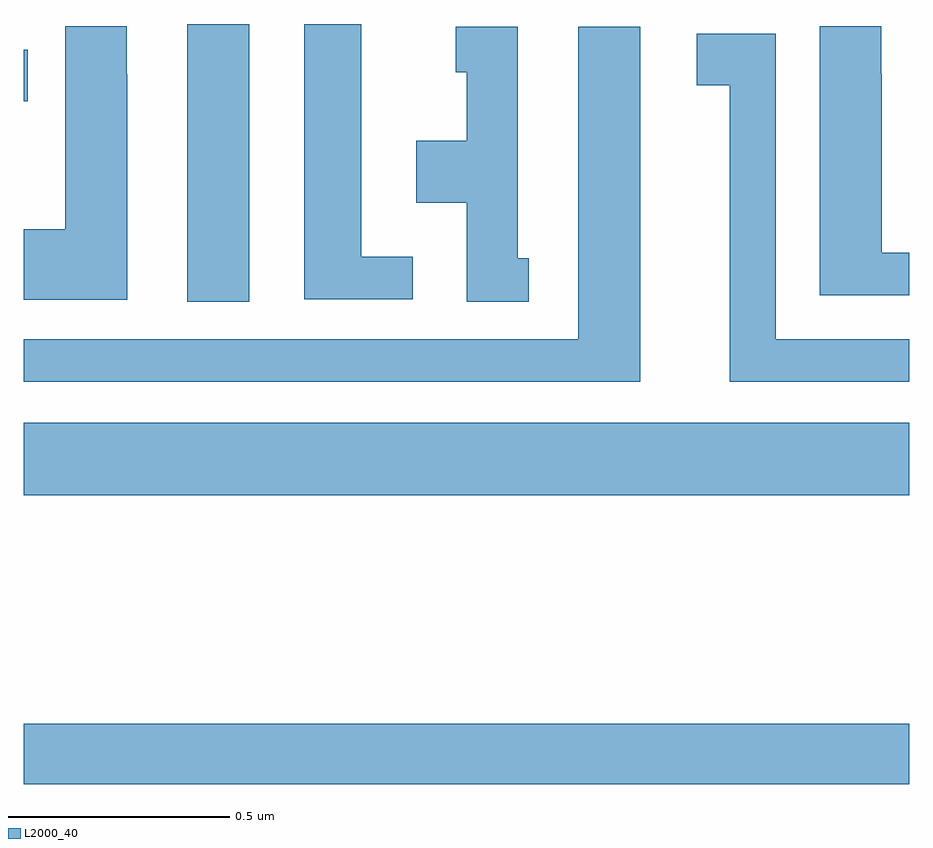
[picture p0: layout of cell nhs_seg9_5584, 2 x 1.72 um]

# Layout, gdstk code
import gdstk
lib = gdstk.Library(unit=1e-6, precision=1e-09)
def R(c, l, rs):  # rectangles x0, y0, x1, y1
    for r in rs: c.add(gdstk.rectangle(r[:2], r[2:], *l))
def P(c, l, *ps):  # polygons
    for p in ps: c.add(gdstk.Polygon(p, *l))
L2000_40 = (2000, 40)

nhs_seg9_5584 = lib.new_cell('nhs_seg9_5584')
R(nhs_seg9_5584, L2000_40, [(181,1179.784,183,1179.92), (181,1180.436,183,1180.6), (181.37,1180.873,181.51,1181.5), (181,1181.326,181.009,1181.442)])
P(nhs_seg9_5584, L2000_40, [(181.879,1180.974),(181.762,1180.974),(181.762,1181.5),(181.634,1181.5),(181.634,1180.878),(181.879,1180.878)],
  [(183,1180.984),(182.938,1180.984),(182.938,1181.387),(182.937,1181.387),(182.937,1181.495),(182.798,1181.495),(182.798,1180.887),(183,1180.887)],
  [(181.234,1181.387),(181.233,1181.387),(181.233,1181.495),(181.094,1181.495),(181.094,1181.037),(181,1181.037),(181,1180.877),(181.234,1180.877)],
  [(182.392,1181.494),(182.252,1181.494),(182.252,1180.788),(181,1180.788),(181,1180.692),(182.392,1180.692)],
  [(182.14,1180.971),(182.116,1180.971),(182.116,1181.494),(181.976,1181.494),(181.976,1181.391),(182,1181.391),(182,1181.236),(181.886,1181.236),(181.886,1181.096),(182,1181.096),(182,1180.873),(182.14,1180.873)],
  [(183,1180.788),(182.698,1180.788),(182.698,1181.478),(182.52,1181.478),(182.52,1181.362),(182.594,1181.362),(182.594,1180.692),(183,1180.692)])

lib.write_gds('nhs_seg9_5584.gds')
